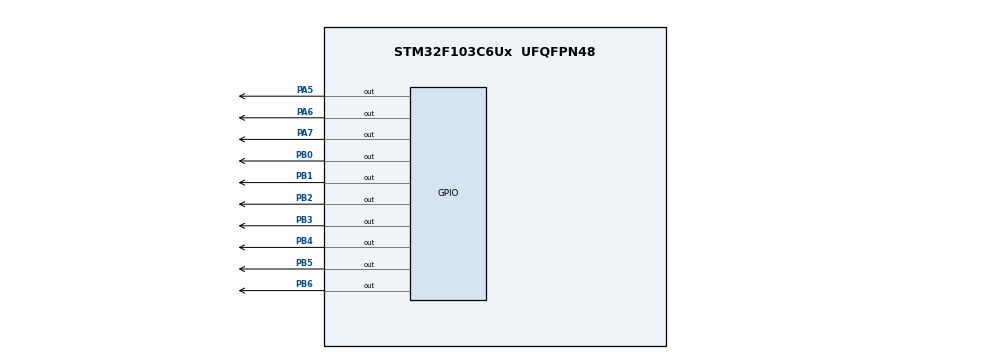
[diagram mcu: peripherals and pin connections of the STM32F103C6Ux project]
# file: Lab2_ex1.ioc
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Mcu.Family=STM32F1
Mcu.Name=STM32F103C6Ux
Mcu.Package=UFQFPN48
NVIC.PriorityGroup=NVIC_PRIORITYGROUP_4
NVIC.TIM2_IRQn=true\:0\:0\:false\:false\:true\:true\:true
PA5.Signal=GPIO_Output
PA6.Signal=GPIO_Output
PA7.Signal=GPIO_Output
PB0.Signal=GPIO_Output
PB1.Signal=GPIO_Output
PB2.Signal=GPIO_Output
PB3.Signal=GPIO_Output
PB4.Signal=GPIO_Output
PB5.Signal=GPIO_Output
PB6.Signal=GPIO_Output
ProjectManager.HeapSize=0x200
ProjectManager.StackSize=0x400
ProjectManager.TargetToolchain=STM32CubeIDE
RCC.APB1Freq_Value=8000000
RCC.APB2Freq_Value=8000000
TIM2.Period=499
TIM2.Prescaler=7999
VP_SYS_VS_ND.Mode=No_Debug
VP_TIM2_VS_ClockSourceINT.Mode=Internal
board=custom

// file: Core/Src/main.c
/* USER CODE BEGIN Header */
/**
  ******************************************************************************
  * @file           : main.c
  * @brief          : Main program body
  ******************************************************************************
  * @attention
  *
  * <h2><center>&copy; Copyright (c) 2025 STMicroelectronics.
  * All rights reserved.</center></h2>
  *
  * This software component is licensed by ST under BSD 3-Clause license,
  * the "License"; You may not use this file except in compliance with the
  * License. You may obtain a copy of the License at:
  *                        opensource.org/licenses/BSD-3-Clause
  *
  ******************************************************************************
  */
/* USER CODE END Header */
#include "main.h"

TIM_HandleTypeDef htim2;

void SystemClock_Config(void);
static void MX_GPIO_Init(void);
static void MX_TIM2_Init(void);

/* USER CODE BEGIN 0 */
void display7SEG(uint8_t num){
	if (num > 9) return;
	switch (num)
	{
	case 0:
		HAL_GPIO_WritePin(GPIOB, GPIO_PIN_0, GPIO_PIN_RESET);
		HAL_GPIO_WritePin(GPIOB, GPIO_PIN_1, GPIO_PIN_RESET);
		HAL_GPIO_WritePin(GPIOB, GPIO_PIN_2, GPIO_PIN_RESET);
		HAL_GPIO_WritePin(GPIOB, GPIO_PIN_3, GPIO_PIN_RESET);
		HAL_GPIO_WritePin(GPIOB, GPIO_PIN_4, GPIO_PIN_RESET);
		HAL_GPIO_WritePin(GPIOB, GPIO_PIN_5, GPIO_PIN_RESET);
		HAL_GPIO_WritePin(GPIOB, GPIO_PIN_6, GPIO_PIN_SET);
		break;
	case 1:
		HAL_GPIO_WritePin(GPIOB, GPIO_PIN_0, GPIO_PIN_SET);
		HAL_GPIO_WritePin(GPIOB, GPIO_PIN_1, GPIO_PIN_RESET);
		HAL_GPIO_WritePin(GPIOB, GPIO_PIN_2, GPIO_PIN_RESET);
		HAL_GPIO_WritePin(GPIOB, GPIO_PIN_3, GPIO_PIN_SET);
		HAL_GPIO_WritePin(GPIOB, GPIO_PIN_4, GPIO_PIN_SET);
		HAL_GPIO_WritePin(GPIOB, GPIO_PIN_5, GPIO_PIN_SET);
		HAL_GPIO_WritePin(GPIOB, GPIO_PIN_6, GPIO_PIN_SET);
		break;
	case 2:
		HAL_GPIO_WritePin(GPIOB, GPIO_PIN_0, GPIO_PIN_RESET);
		HAL_GPIO_WritePin(GPIOB, GPIO_PIN_1, GPIO_PIN_RESET);
		HAL_GPIO_WritePin(GPIOB, GPIO_PIN_2, GPIO_PIN_SET);
		HAL_GPIO_WritePin(GPIOB, GPIO_PIN_3, GPIO_PIN_RESET);
		HAL_GPIO_WritePin(GPIOB, GPIO_PIN_4, GPIO_PIN_RESET);
		HAL_GPIO_WritePin(GPIOB, GPIO_PIN_5, GPIO_PIN_SET);
		HAL_GPIO_WritePin(GPIOB, GPIO_PIN_6, GPIO_PIN_RESET);
		break;
	case 3:
		HAL_GPIO_WritePin(GPIOB, GPIO_PIN_0, GPIO_PIN_RESET);
		HAL_GPIO_WritePin(GPIOB, GPIO_PIN_1, GPIO_PIN_RESET);
		HAL_GPIO_WritePin(GPIOB, GPIO_PIN_2, GPIO_PIN_RESET);
		HAL_GPIO_WritePin(GPIOB, GPIO_PIN_3, GPIO_PIN_RESET);
		HAL_GPIO_WritePin(GPIOB, GPIO_PIN_4, GPIO_PIN_SET);
		HAL_GPIO_WritePin(GPIOB, GPIO_PIN_5, GPIO_PIN_SET);
		HAL_GPIO_WritePin(GPIOB, GPIO_PIN_6, GPIO_PIN_RESET);
		break;
	case 4:
        HAL_GPIO_WritePin(GPIOB, GPIO_PIN_0, GPIO_PIN_SET);
        HAL_GPIO_WritePin(GPIOB, GPIO_PIN_1, GPIO_PIN_RESET);
        HAL_GPIO_WritePin(GPIOB, GPIO_PIN_2, GPIO_PIN_RESET);
        HAL_GPIO_WritePin(GPIOB, GPIO_PIN_3, GPIO_PIN_SET);
        HAL_GPIO_WritePin(GPIOB, GPIO_PIN_4, GPIO_PIN_SET);
        HAL_GPIO_WritePin(GPIOB, GPIO_PIN_5, GPIO_PIN_RESET);
        HAL_GPIO_WritePin(GPIOB, GPIO_PIN_6, GPIO_PIN_RESET);
        break;
	case 5:
		HAL_GPIO_WritePin(GPIOB, GPIO_PIN_0, GPIO_PIN_RESET);
		HAL_GPIO_WritePin(GPIOB, GPIO_PIN_1, GPIO_PIN_SET);
		HAL_GPIO_WritePin(GPIOB, GPIO_PIN_2, GPIO_PIN_RESET);
		HAL_GPIO_WritePin(GPIOB, GPIO_PIN_3, GPIO_PIN_RESET);
		HAL_GPIO_WritePin(GPIOB, GPIO_PIN_4, GPIO_PIN_SET);
		HAL_GPIO_WritePin(GPIOB, GPIO_PIN_5, GPIO_PIN_RESET);
		HAL_GPIO_WritePin(GPIOB, GPIO_PIN_6, GPIO_PIN_RESET);
		break;
	case 6:
		HAL_GPIO_WritePin(GPIOB, GPIO_PIN_0, GPIO_PIN_RESET);
		HAL_GPIO_WritePin(GPIOB, GPIO_PIN_1, GPIO_PIN_SET);
		HAL_GPIO_WritePin(GPIOB, GPIO_PIN_2, GPIO_PIN_RESET);
		HAL_GPIO_WritePin(GPIOB, GPIO_PIN_3, GPIO_PIN_RESET);
		HAL_GPIO_WritePin(GPIOB, GPIO_PIN_4, GPIO_PIN_RESET);
		HAL_GPIO_WritePin(GPIOB, GPIO_PIN_5, GPIO_PIN_RESET);
		HAL_GPIO_WritePin(GPIOB, GPIO_PIN_6, GPIO_PIN_RESET);
		break;
	case 7:
		HAL_GPIO_WritePin(GPIOB, GPIO_PIN_0, GPIO_PIN_RESET);
		HAL_GPIO_WritePin(GPIOB, GPIO_PIN_1, GPIO_PIN_RESET);
		HAL_GPIO_WritePin(GPIOB, GPIO_PIN_2, GPIO_PIN_RESET);
		HAL_GPIO_WritePin(GPIOB, GPIO_PIN_3, GPIO_PIN_SET);
		HAL_GPIO_WritePin(GPIOB, GPIO_PIN_4, GPIO_PIN_SET);
		HAL_GPIO_WritePin(GPIOB, GPIO_PIN_5, GPIO_PIN_SET);
		HAL_GPIO_WritePin(GPIOB, GPIO_PIN_6, GPIO_PIN_SET);
		break;
	case 8:
		HAL_GPIO_WritePin(GPIOB, GPIO_PIN_0, GPIO_PIN_RESET);
		HAL_GPIO_WritePin(GPIOB, GPIO_PIN_1, GPIO_PIN_RESET);
		HAL_GPIO_WritePin(GPIOB, GPIO_PIN_2, GPIO_PIN_RESET);
		HAL_GPIO_WritePin(GPIOB, GPIO_PIN_3, GPIO_PIN_RESET);
		HAL_GPIO_WritePin(GPIOB, GPIO_PIN_4, GPIO_PIN_RESET);
		HAL_GPIO_WritePin(GPIOB, GPIO_PIN_5, GPIO_PIN_RESET);
		HAL_GPIO_WritePin(GPIOB, GPIO_PIN_6, GPIO_PIN_RESET);
		break;
	case 9:
		HAL_GPIO_WritePin(GPIOB, GPIO_PIN_0, GPIO_PIN_RESET);
		HAL_GPIO_WritePin(GPIOB, GPIO_PIN_1, GPIO_PIN_RESET);
		HAL_GPIO_WritePin(GPIOB, GPIO_PIN_2, GPIO_PIN_RESET);
		HAL_GPIO_WritePin(GPIOB, GPIO_PIN_3, GPIO_PIN_RESET);
		HAL_GPIO_WritePin(GPIOB, GPIO_PIN_4, GPIO_PIN_SET);
		HAL_GPIO_WritePin(GPIOB, GPIO_PIN_5, GPIO_PIN_RESET);
		HAL_GPIO_WritePin(GPIOB, GPIO_PIN_6, GPIO_PIN_RESET);
		break;
	default:
		HAL_GPIO_WritePin(GPIOB, GPIO_PIN_0, GPIO_PIN_SET);
		HAL_GPIO_WritePin(GPIOB, GPIO_PIN_1, GPIO_PIN_SET);
		HAL_GPIO_WritePin(GPIOB, GPIO_PIN_2, GPIO_PIN_SET);
		HAL_GPIO_WritePin(GPIOB, GPIO_PIN_3, GPIO_PIN_SET);
		HAL_GPIO_WritePin(GPIOB, GPIO_PIN_4, GPIO_PIN_SET);
		HAL_GPIO_WritePin(GPIOB, GPIO_PIN_5, GPIO_PIN_SET);
		HAL_GPIO_WritePin(GPIOB, GPIO_PIN_6, GPIO_PIN_SET);
		break;
	}
}

uint8_t led_index = 0;
void HAL_TIM_PeriodElapsedCallback(TIM_HandleTypeDef *htim){
    if(htim->Instance == TIM2){
        if(led_index == 0){
            HAL_GPIO_WritePin(GPIOA, GPIO_PIN_6, GPIO_PIN_RESET);
            HAL_GPIO_WritePin(GPIOA, GPIO_PIN_7, GPIO_PIN_SET);
            display7SEG(1);
            HAL_GPIO_WritePin(GPIOA, GPIO_PIN_5, GPIO_PIN_RESET);
            led_index = 1;
        }
        else {
            HAL_GPIO_WritePin(GPIOA, GPIO_PIN_7, GPIO_PIN_RESET);
            HAL_GPIO_WritePin(GPIOA, GPIO_PIN_6, GPIO_PIN_SET);
            display7SEG(2);
            HAL_GPIO_WritePin(GPIOA, GPIO_PIN_5, GPIO_PIN_SET);
            led_index = 0;
        }
    }
}
/* USER CODE END 0 */

int main(void)
{

  /* MCU Configuration--------------------------------------------------------*/

  /* Reset of all peripherals, Initializes the Flash interface and the Systick. */
  HAL_Init();

  /* Configure the system clock */
  SystemClock_Config();

  /* Initialize all configured peripherals */
  MX_GPIO_Init();
  MX_TIM2_Init();
  /* USER CODE BEGIN 2 */
  HAL_TIM_Base_Start_IT(&htim2);
  /* USER CODE END 2 */

  /* Infinite loop */
  while (1)
  {

  }
}

void SystemClock_Config(void)
{
  RCC_OscInitTypeDef RCC_OscInitStruct = {0};
  RCC_ClkInitTypeDef RCC_ClkInitStruct = {0};

  /** Initializes the RCC Oscillators according to the specified parameters
  * in the RCC_OscInitTypeDef structure.
  */
  RCC_OscInitStruct.OscillatorType = RCC_OSCILLATORTYPE_HSI;
  RCC_OscInitStruct.HSIState = RCC_HSI_ON;
  RCC_OscInitStruct.HSICalibrationValue = RCC_HSICALIBRATION_DEFAULT;
  RCC_OscInitStruct.PLL.PLLState = RCC_PLL_NONE;
  if (HAL_RCC_OscConfig(&RCC_OscInitStruct) != HAL_OK)
  {
    Error_Handler();
  }
  /** Initializes the CPU, AHB and APB buses clocks
  */
  RCC_ClkInitStruct.ClockType = RCC_CLOCKTYPE_HCLK|RCC_CLOCKTYPE_SYSCLK
                              |RCC_CLOCKTYPE_PCLK1|RCC_CLOCKTYPE_PCLK2;
  RCC_ClkInitStruct.SYSCLKSource = RCC_SYSCLKSOURCE_HSI;
  RCC_ClkInitStruct.AHBCLKDivider = RCC_SYSCLK_DIV1;
  RCC_ClkInitStruct.APB1CLKDivider = RCC_HCLK_DIV1;
  RCC_ClkInitStruct.APB2CLKDivider = RCC_HCLK_DIV1;

  if (HAL_RCC_ClockConfig(&RCC_ClkInitStruct, FLASH_LATENCY_0) != HAL_OK)
  {
    Error_Handler();
  }
}

static void MX_TIM2_Init(void)
{

  TIM_ClockConfigTypeDef sClockSourceConfig = {0};
  TIM_MasterConfigTypeDef sMasterConfig = {0};

  htim2.Instance = TIM2;
  htim2.Init.Prescaler = 7999;
  htim2.Init.CounterMode = TIM_COUNTERMODE_UP;
  htim2.Init.Period = 499;
  htim2.Init.ClockDivision = TIM_CLOCKDIVISION_DIV1;
  htim2.Init.AutoReloadPreload = TIM_AUTORELOAD_PRELOAD_DISABLE;
  if (HAL_TIM_Base_Init(&htim2) != HAL_OK)
  {
    Error_Handler();
  }
  sClockSourceConfig.ClockSource = TIM_CLOCKSOURCE_INTERNAL;
  if (HAL_TIM_ConfigClockSource(&htim2, &sClockSourceConfig) != HAL_OK)
  {
    Error_Handler();
  }
  sMasterConfig.MasterOutputTrigger = TIM_TRGO_RESET;
  sMasterConfig.MasterSlaveMode = TIM_MASTERSLAVEMODE_DISABLE;
  if (HAL_TIMEx_MasterConfigSynchronization(&htim2, &sMasterConfig) != HAL_OK)
  {
    Error_Handler();
  }

}

static void MX_GPIO_Init(void)
{
  GPIO_InitTypeDef GPIO_InitStruct = {0};

  /* GPIO Ports Clock Enable */
  __HAL_RCC_GPIOA_CLK_ENABLE();
  __HAL_RCC_GPIOB_CLK_ENABLE();

  /*Configure GPIO pin Output Level */
  HAL_GPIO_WritePin(GPIOA, GPIO_PIN_5|GPIO_PIN_6|GPIO_PIN_7, GPIO_PIN_SET);

  /*Configure GPIO pin Output Level */
  HAL_GPIO_WritePin(GPIOB, GPIO_PIN_0|GPIO_PIN_1|GPIO_PIN_2|GPIO_PIN_3
                          |GPIO_PIN_4|GPIO_PIN_5|GPIO_PIN_6, GPIO_PIN_RESET);

  /*Configure GPIO pins : PA5 PA6 PA7 */
  GPIO_InitStruct.Pin = GPIO_PIN_5|GPIO_PIN_6|GPIO_PIN_7;
  GPIO_InitStruct.Mode = GPIO_MODE_OUTPUT_PP;
  GPIO_InitStruct.Pull = GPIO_NOPULL;
  GPIO_InitStruct.Speed = GPIO_SPEED_FREQ_LOW;
  HAL_GPIO_Init(GPIOA, &GPIO_InitStruct);

  /*Configure GPIO pins : PB0 PB1 PB2 PB3
                           PB4 PB5 PB6 */
  GPIO_InitStruct.Pin = GPIO_PIN_0|GPIO_PIN_1|GPIO_PIN_2|GPIO_PIN_3
                          |GPIO_PIN_4|GPIO_PIN_5|GPIO_PIN_6;
  GPIO_InitStruct.Mode = GPIO_MODE_OUTPUT_PP;
  GPIO_InitStruct.Pull = GPIO_NOPULL;
  GPIO_InitStruct.Speed = GPIO_SPEED_FREQ_LOW;
  HAL_GPIO_Init(GPIOB, &GPIO_InitStruct);

}

void Error_Handler(void)
{
  __disable_irq();
  while (1)
  {
  }
}

/************************ (C) COPYRIGHT STMicroelectronics *****END OF FILE****/
